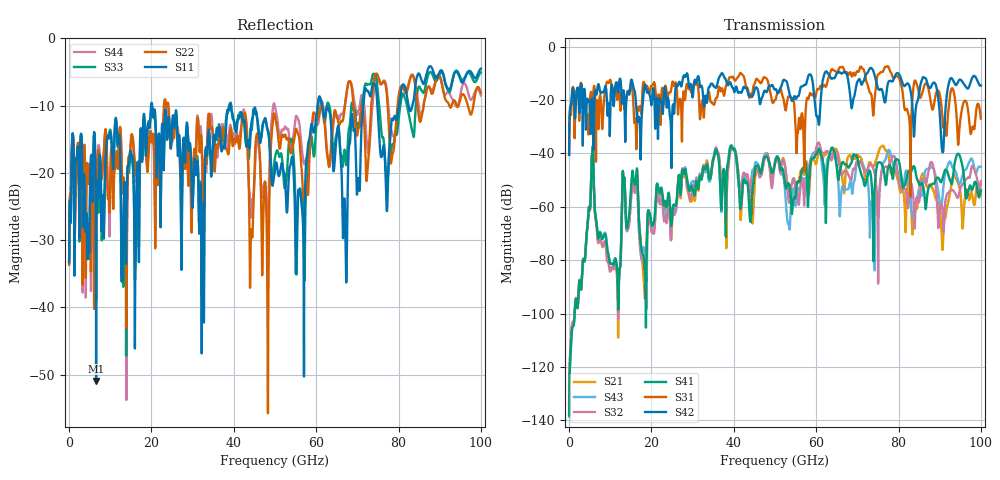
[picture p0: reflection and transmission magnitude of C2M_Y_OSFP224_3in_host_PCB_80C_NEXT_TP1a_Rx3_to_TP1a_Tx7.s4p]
# GHz S RI R 45
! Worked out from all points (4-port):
!   4000 points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, 25 MHz to 100 GHz, reference 45 ohm
!   strongest paths, dB at 25 MHz, 25.02 GHz, 50.02 GHz, 75.03 GHz, 100 GHz:
!     S42: -40.5, -26.4, -15.9, -15.6, -14.6
!     S31: -40.6, -13.6, -19.9, -10.4, -26.9
!     S41: -138.1, -63.2, -43.8, -43.4, -53.8
!     S32: -134.2, -64.3, -43.0, -78.8, -50.4
!     S43: -138.6, -62.7, -42.9, -55.2, -45.1
!     S21: -134.1, -65.2, -43.0, -40.0, -55.4
!   lowest |S11| = -50.9 dB at 6.575 GHz (marker M1), VSWR 1.01, Z = 44.8 - j0.0994 ohm
!   |S11| at or under -10 dB: start of sweep to 19.93 GHz; 20.19 GHz to 39.01 GHz (18.81 GHz wide, 63.6 % of centre); 39.4 GHz to 60.38 GHz (20.98 GHz wide, 42.1 % of centre)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
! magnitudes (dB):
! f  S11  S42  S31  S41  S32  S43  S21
! 25 MHz  -33.3  -40.5  -40.6  -138.1  -134.2  -138.6  -134.1
! 6.575 GHz  -50.9  -17.3  -34.5  -64.7  -65.9  -64.7  -65.9
! 16.12 GHz  -31.7  -18.6  -27.4  -51.2  -54.5  -53.5  -52.3
! 18.32 GHz  -11.9  -14.7  -13.9  -81.7  -79.4  -75.9  -91.6
! 39.73 GHz  -11.9  -15.3  -11.2  -38.2  -38.0  -37.9  -38.2
! 53.3 GHz  -21.4  -16.0  -18.7  -51.2  -57.7  -66.4  -55.6
! 100 GHz  -4.5  -14.6  -26.9  -53.8  -50.4  -45.1  -55.4
